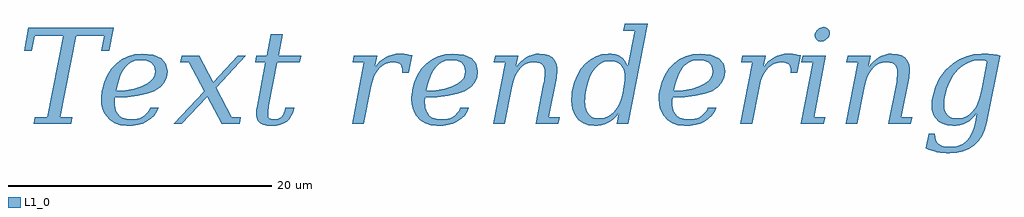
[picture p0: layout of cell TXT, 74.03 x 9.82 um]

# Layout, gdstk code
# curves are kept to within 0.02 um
import gdstk
lib = gdstk.Library(unit=1e-6, precision=1e-09)
def P(c, l, *ps):  # polygons
    for p in ps: c.add(gdstk.Polygon(p, *l))
L1_0 = (1, 0)

txt = lib.new_cell('TXT')
P(txt, L1_0, [(1.202,0),(1.298,0.517),(2.231,0.517),(3.437,6.709),(1.294,6.709),(1.075,5.572),(0.473,5.572),(0.806,7.291),(7.28,7.291),(6.948,5.572),(6.348,5.572),(6.567,6.709),(4.423,6.709),(3.217,0.517),(4.15,0.517),(4.053,0)],
  [(8.72,-0.12),(9.13,-0.07),(9.48,0.03),(9.76,0.16),(10.09,0.39),(10.36,0.64),(10.55,0.92),(10.69,1.22),(10.03,1.22),(9.94,1.02),(9.81,0.84),(9.64,0.67),(9.41,0.51),(9.25,0.44),(8.83,0.35),(8.57,0.34),(8.21,0.38),(7.92,0.48),(7.68,0.64),(7.51,0.88),(7.43,1.04),(7.35,1.42),(7.36,1.99),(8.29,2.03),(9.1,2.13),(9.79,2.29),(10.36,2.5),(10.8,2.78),(11.11,3.12),(11.3,3.52),(11.36,3.98),(11.24,4.57),(10.89,4.99),(10.29,5.25),(9.45,5.33),(8.89,5.29),(8.37,5.14),(7.89,4.91),(7.46,4.58),(7.08,4.17),(6.78,3.71),(6.55,3.18),(6.37,2.51),(7.46,2.51),(7.61,3.13),(7.78,3.64),(7.98,4.05),(8.19,4.35),(8.43,4.57),(8.7,4.72),(8.99,4.82),(9.3,4.85),(9.79,4.8),(10.13,4.64),(10.34,4.38),(10.41,4.01),(10.38,3.73),(10.28,3.48),(10.1,3.26),(9.87,3.09),(9.4,2.86),(8.85,2.69),(8.2,2.57),(7.46,2.51),(6.37,2.51),(6.32,2.05),(6.34,1.52),(6.53,0.88),(6.7,0.61),(7,0.28),(7.36,0.04),(7.77,-0.1),(8.25,-0.14)],
  [(12.452,0),(11.843,0),(14.132,2.491),(12.98,4.669),(12.341,4.669),(12.438,5.191),(13.757,5.191),(14.835,3.169),(16.696,5.191),(17.307,5.191),(15.06,2.748),(16.247,0.517),(16.925,0.517),(16.827,0),(15.466,0),(14.361,2.07)],
  [(18.79,4.669),(17.999,4.669),(18.103,5.191),(18.893,5.191),(19.206,6.802),(20.109,6.802),(19.796,5.191),(21.485,5.191),(21.384,4.669),(19.693,4.669),(19.022,1.189),(18.981,0.763),(19.015,0.528),(19.077,0.447),(19.294,0.354),(19.616,0.355),(19.764,0.394),(20.004,0.548),(20.099,0.668),(20.181,0.82),(20.304,1.22),(20.982,1.22),(20.88,0.89),(20.748,0.607),(20.587,0.372),(20.396,0.184),(20.173,0.042),(19.912,-0.061),(19.614,-0.122),(19.279,-0.142),(18.923,-0.121),(18.632,-0.055),(18.405,0.053),(18.243,0.205),(18.175,0.321),(18.097,0.622),(18.123,1.218)],
  [(29.923,5.2),(29.67,3.902),(29.151,3.902),(29.16,4.202),(29.101,4.4),(28.961,4.562),(28.701,4.657),(28.213,4.64),(27.922,4.554),(27.659,4.41),(27.423,4.209),(27.219,3.955),(27.049,3.65),(26.913,3.295),(26.251,0),(25.353,0),(26.261,4.678),(25.401,4.678),(25.5,5.191),(27.258,5.191),(27.081,4.267),(27.271,4.521),(27.687,4.922),(28.155,5.185),(28.413,5.267),(28.976,5.333),(29.429,5.298)],
  [(32.26,-0.12),(32.66,-0.07),(33.01,0.03),(33.3,0.16),(33.63,0.39),(33.89,0.64),(34.09,0.92),(34.22,1.22),(33.56,1.22),(33.48,1.02),(33.35,0.84),(32.95,0.51),(32.79,0.44),(32.37,0.35),(32.1,0.34),(31.75,0.38),(31.45,0.48),(31.22,0.64),(31.04,0.88),(30.97,1.04),(30.89,1.42),(30.9,1.99),(31.83,2.03),(32.64,2.13),(33.33,2.29),(33.9,2.5),(34.34,2.78),(34.65,3.12),(34.84,3.52),(34.9,3.98),(34.78,4.57),(34.42,4.99),(33.82,5.25),(32.99,5.33),(32.43,5.29),(31.9,5.14),(31.43,4.91),(30.99,4.58),(30.62,4.17),(30.31,3.71),(30.08,3.18),(29.91,2.51),(31,2.51),(31.15,3.13),(31.32,3.64),(31.51,4.05),(31.73,4.35),(31.97,4.57),(32.23,4.72),(32.52,4.82),(32.84,4.85),(33.32,4.8),(33.67,4.64),(33.88,4.38),(33.95,4.01),(33.91,3.73),(33.81,3.48),(33.64,3.26),(33.4,3.09),(32.94,2.86),(32.38,2.69),(31.74,2.57),(31,2.51),(29.91,2.51),(29.86,2.05),(29.88,1.52),(29.95,1.19),(30.07,0.88),(30.24,0.61),(30.54,0.28),(30.89,0.04),(31.31,-0.1),(31.78,-0.14)],
  [(36.051,0),(36.959,4.669),(36.1,4.669),(36.198,5.191),(37.956,5.191),(37.779,4.267),(37.961,4.515),(38.361,4.913),(38.579,5.064),(39.049,5.266),(39.557,5.333),(39.953,5.302),(40.28,5.209),(40.539,5.055),(40.729,4.839),(40.811,4.677),(40.904,4.28),(40.91,3.874),(40.831,3.302),(40.29,0.517),(41.09,0.517),(40.993,0),(39.289,0),(39.917,3.258),(39.967,3.998),(39.893,4.327),(39.784,4.48),(39.621,4.59),(39.406,4.656),(39.137,4.678),(38.838,4.65),(38.564,4.564),(38.317,4.421),(38.096,4.22),(37.905,3.966),(37.743,3.66),(37.612,3.301),(37.511,2.891),(36.95,0)],
  [(44,-0.13),(44.53,-0.01),(44.98,0.22),(45.39,0.58),(45.57,0.81),(45.42,0),(46.32,0),(47.79,7.6),(46.04,7.6),(45.94,7.08),(46.79,7.08),(46.27,4.38),(46.17,4.61),(45.9,4.97),(45.54,5.2),(45.06,5.32),(44.77,5.33),(44.3,5.29),(43.86,5.14),(43.45,4.91),(43.06,4.57),(42.71,4.17),(42.43,3.7),(42.22,3.18),(42.07,2.6),(42,2.2),(41.99,1.72),(43.02,1.72),(43.07,2.36),(43.24,3.1),(43.39,3.54),(43.57,3.92),(43.79,4.22),(44.03,4.46),(44.31,4.63),(44.61,4.74),(44.94,4.77),(45.26,4.74),(45.52,4.65),(45.73,4.49),(45.89,4.28),(46,3.95),(46.04,3.38),(45.97,2.85),(45.76,1.9),(45.62,1.51),(45.44,1.18),(45.23,0.91),(44.99,0.7),(44.72,0.54),(44.42,0.45),(44.09,0.42),(43.77,0.45),(43.51,0.56),(43.31,0.73),(43.16,0.97),(43.05,1.31),(43.02,1.72),(41.99,1.72),(42,1.48),(42.06,1.17),(42.16,0.88),(42.29,0.62),(42.55,0.28),(42.88,0.05),(43.26,-0.09),(43.71,-0.14)],
  [(51.01,-0.12),(51.42,-0.07),(51.77,0.03),(52.06,0.16),(52.39,0.39),(52.65,0.64),(52.85,0.92),(52.98,1.22),(52.32,1.22),(52.24,1.02),(52.11,0.84),(51.71,0.51),(51.55,0.44),(51.13,0.35),(50.86,0.34),(50.51,0.38),(50.21,0.48),(49.98,0.64),(49.8,0.88),(49.73,1.04),(49.65,1.42),(49.66,1.99),(50.59,2.03),(51.4,2.13),(52.09,2.29),(52.66,2.5),(53.1,2.78),(53.41,3.12),(53.6,3.52),(53.66,3.98),(53.54,4.57),(53.18,4.99),(52.58,5.25),(51.75,5.33),(51.18,5.29),(50.66,5.14),(50.19,4.91),(49.75,4.58),(49.38,4.17),(49.07,3.71),(48.84,3.18),(48.67,2.51),(49.76,2.51),(49.91,3.13),(50.08,3.64),(50.27,4.05),(50.49,4.35),(50.73,4.57),(50.99,4.72),(51.28,4.82),(51.6,4.85),(52.08,4.8),(52.43,4.64),(52.64,4.38),(52.71,4.01),(52.67,3.73),(52.57,3.48),(52.4,3.26),(52.16,3.09),(51.7,2.86),(51.14,2.69),(50.49,2.57),(49.76,2.51),(48.67,2.51),(48.61,1.88),(48.64,1.52),(48.71,1.19),(48.83,0.88),(49,0.61),(49.3,0.28),(49.65,0.04),(50.07,-0.1),(50.54,-0.14)],
  [(59.381,5.2),(59.128,3.902),(58.609,3.902),(58.618,4.202),(58.559,4.4),(58.419,4.562),(58.159,4.657),(57.671,4.64),(57.38,4.554),(57.117,4.41),(56.881,4.209),(56.677,3.955),(56.507,3.65),(56.371,3.295),(55.709,0),(54.811,0),(55.719,4.678),(54.859,4.678),(54.958,5.191),(56.716,5.191),(56.539,4.267),(56.729,4.521),(57.145,4.922),(57.613,5.185),(57.871,5.267),(58.434,5.333),(58.887,5.298)],
  [(60.465,6.802),(60.547,7.012),(60.617,7.106),(60.805,7.265),(61.017,7.347),(61.235,7.347),(61.414,7.265),(61.531,7.127),(61.582,6.986),(61.585,6.856),(61.543,6.691),(61.424,6.496),(61.238,6.341),(61.027,6.26),(60.806,6.26),(60.625,6.341),(60.48,6.541)],
  [(60.393,0.517),(61.241,0.517),(61.144,0),(59.396,0),(60.299,4.669),(59.44,4.669),(59.543,5.191),(61.301,5.191)],
  [(62.789,0),(63.697,4.669),(62.838,4.669),(62.936,5.191),(64.694,5.191),(64.518,4.267),(64.699,4.515),(65.099,4.913),(65.547,5.182),(65.787,5.266),(66.296,5.333),(66.691,5.302),(67.018,5.209),(67.277,5.055),(67.468,4.839),(67.549,4.677),(67.642,4.28),(67.648,3.874),(67.569,3.302),(67.029,0.517),(67.829,0.517),(67.732,0),(66.027,0),(66.613,3.017),(66.71,3.858),(66.666,4.233),(66.522,4.48),(66.36,4.59),(66.144,4.656),(65.875,4.678),(65.576,4.65),(65.303,4.564),(65.056,4.421),(64.835,4.22),(64.643,3.966),(64.481,3.66),(64.35,3.301),(64.249,2.891),(63.688,0)],
  [(71.21,-2.18),(71.7,-2.07),(72.15,-1.88),(72.56,-1.61),(72.89,-1.29),(73.16,-0.9),(73.36,-0.43),(73.51,0.11),(74.5,5.19),(74,5.3),(73.6,5.33),(73.11,5.33),(72.52,5.28),(71.96,5.14),(71.42,4.9),(70.9,4.57),(70.35,4.08),(69.91,3.48),(69.58,2.77),(69.36,1.96),(69.31,1.49),(70.26,1.49),(70.32,2.03),(70.48,2.66),(70.7,3.21),(70.97,3.7),(71.3,4.1),(71.67,4.42),(72.08,4.65),(72.51,4.79),(73.2,4.82),(73.37,4.79),(73.47,4.74),(73.5,4.67),(72.94,1.9),(72.79,1.51),(72.62,1.18),(72.41,0.91),(72.17,0.7),(71.9,0.54),(71.6,0.45),(71.27,0.42),(70.98,0.45),(70.74,0.52),(70.55,0.65),(70.41,0.83),(70.31,1.05),(70.26,1.49),(69.31,1.49),(69.34,1.07),(69.4,0.84),(69.49,0.63),(69.62,0.44),(69.86,0.18),(70.16,0),(70.51,-0.11),(71.19,-0.13),(71.7,-0.01),(72.16,0.22),(72.56,0.58),(72.75,0.81),(72.5,-0.34),(72.36,-0.72),(72.18,-1.04),(71.97,-1.29),(71.72,-1.49),(71.43,-1.63),(71.1,-1.71),(70.72,-1.74),(70.2,-1.68),(69.99,-1.61),(69.83,-1.5),(69.71,-1.37),(69.62,-1.2),(69.57,-1),(69.56,-0.76),(69.09,-0.76),(68.88,-1.85),(69.5,-2.08),(69.95,-2.17),(70.43,-2.22)])

lib.write_gds('TXT.gds')
